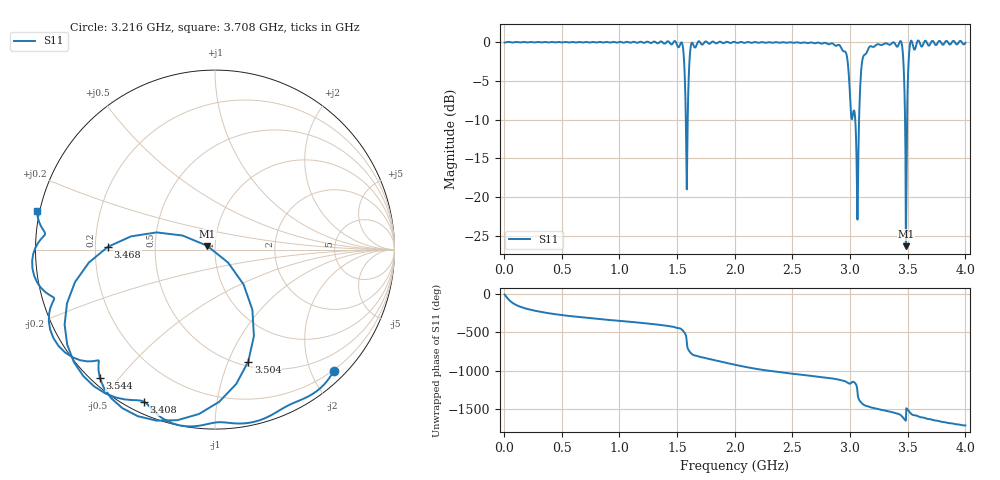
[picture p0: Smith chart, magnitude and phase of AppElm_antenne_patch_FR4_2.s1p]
! TOUCHSTONE file generated by CST MICROWAVE STUDIO
! Date and time: Tue Jun  7 19:07:15 2022
! Project name: AppElm_antenne_patch_FR4.cst
! Parameters = {L=45; W=46.8; e=0.035; h=1.6; lambda=0.190476; ls=120; w0=1.6; w1=0.533333; ws=120; y0=20; y1=23.8095}
! Header version: 2018
! Port assignment regex: !\s*Touchstone port\s*([0-9]+)\s*=\s*(CST MWS port|CST DS port)\s*([0-9]+|Zmin|Zmax)\s*\(\"(.*)\"\)(\s*mode\s*([0-9]+))?.*
! Touchstone port assignment:
! Touchstone port 1 = CST MWS port 1 ("")
# GHz S MA R 50
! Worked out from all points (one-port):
!   1000 points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, 4 MHz to 4 GHz, reference 50 ohm
!   lowest |S11| = -26.4 dB at 3.484 GHz (marker M1), VSWR 1.10, Z = 45.8 + j1.92 ohm
!   |S11| at or under -10 dB: 1.575 GHz to 1.592 GHz (16.49 MHz wide, 1.04 % of centre); 3.045 GHz to 3.078 GHz (33.47 MHz wide, 1.09 % of centre); 3.477 GHz to 3.494 GHz (17.52 MHz wide, 0.503 % of centre)
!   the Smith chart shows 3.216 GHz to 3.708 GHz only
!   S11 on the Smith chart (normalised r, x): 3.216 GHz: 0.18, -2.37; 3.408 GHz: 0.05, -0.64; 3.468 GHz: 0.25, +0.01; 3.504 GHz: 0.55, -1.18; 3.544 GHz: 0.02, -0.45; 3.708 GHz: -0.01, +0.11
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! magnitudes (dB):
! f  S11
! 4 MHz  0.0
! 504 MHz  0.0
! 1.004 GHz  0.0
! 1.504 GHz  -0.5
! 1.548 GHz  -0.4
! 1.568 GHz  -5.1
! 1.584 GHz  -19.0
! 1.616 GHz  -0.8
! 1.632 GHz  -0.1
! 2.004 GHz  0.0
! 2.504 GHz  -0.1
! 2.912 GHz  -0.4
! 2.968 GHz  -1.5
! 3.004 GHz  -8.2
! 3.06 GHz  -19.0
! 3.076 GHz  -11.3
! 3.096 GHz  -3.7
! 3.112 GHz  -2.0
! 3.216 GHz  -0.5
! 3.408 GHz  -0.6
! 3.448 GHz  -0.2
! 3.468 GHz  -4.5
! 3.484 GHz  -26.4
! 3.504 GHz  -3.7
! 3.52 GHz  -0.2
! 3.544 GHz  -0.4
! 3.708 GHz  0.1
! 4 GHz  -0.1
